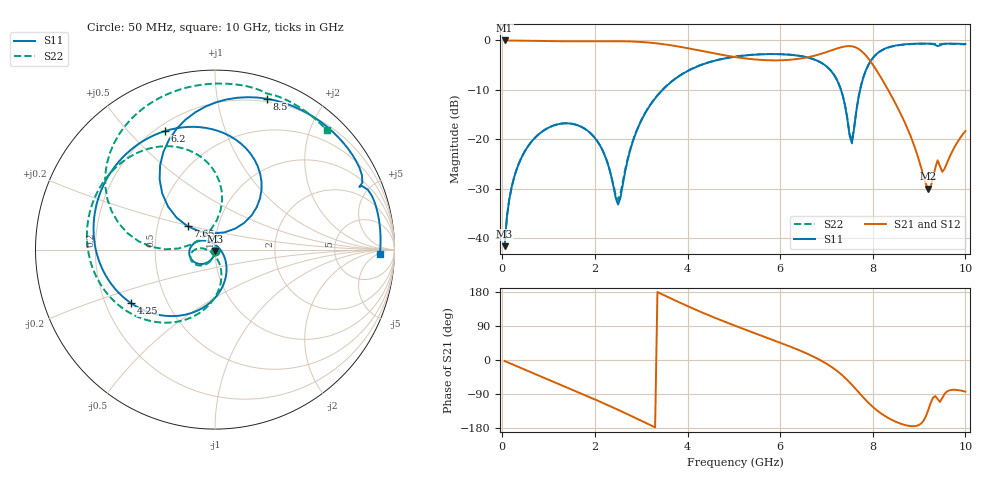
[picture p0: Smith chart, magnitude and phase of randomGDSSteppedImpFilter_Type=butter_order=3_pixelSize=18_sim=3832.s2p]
! freq	dB(S11)	phase(S11)	dB(S12)	phase(S12)
!  dB(S21)	phase(S21)	dB(S22)	phase(S22)
!S-par simulation data
#  GHz  S  DB  R 50
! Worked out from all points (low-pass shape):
!   200 points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, 50 MHz to 10 GHz, reference 50 ohm
!   highest |S21| = -0.01 dB at 50 MHz (marker M1); lowest = -29.9 dB at 9.2 GHz (marker M2)
!   |S21| within 3 dB of the highest: start of sweep to 4.796 GHz; 6.772 GHz to 7.848 GHz (1.076 GHz wide, 14.7 % of centre)
!   lowest |S11| = -41.6 dB at 50 MHz (marker M3), VSWR 1.02, Z = 50 - j0.834 ohm
!   |S11| at or under -10 dB: start of sweep to 3.46 GHz; 7.313 GHz to 7.726 GHz (413.2 MHz wide, 5.49 % of centre)
!   |S22| runs from -41.6 to -0.7 dB; largest |S21 - S12| = 0
!   S11 on the Smith chart (normalised r, x): 50 MHz: 1.00, -0.02; 4.25 GHz: 0.31, -0.27; 6.2 GHz: 0.23, +0.64; 7.65 GHz: 0.71, +0.19; 8.5 GHz: 0.17, +1.39; 10 GHz: 22, -6
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0.05  -41.56 -91.9  -0.01 -2.7  -0.01 -2.7  -41.56 -91.7
0.2  -29.71 -101.1  -0.02 -10.5  -0.02 -10.5  -29.71 -99.7
0.55  -21.47 -121.2  -0.07 -28.8  -0.07 -28.8  -21.46 -117.4
1.75  -17.67 169.8  -0.18 -90.8  -0.18 -90.8  -17.67 -172.7
2.2  -22.93 135.7  -0.16 -114.8  -0.16 -114.8  -22.91 174.4
2.5  -33.15 46.7  -0.16 -131.4  -0.16 -131.4  -32.24 -129.5
2.85  -19.57 -53.2  -0.24 -151.5  -0.24 -151.5  -19.42 -72.9
3.4  -10.59 -95.0  -0.66 176.4  -0.66 176.4  -10.53 -94.4
4.25  -5.12 -147.3  -2.03 128.8  -2.03 128.8  -5.08 -136.3
5.05  -3.26 170.0  -3.39 89.3  -3.39 89.3  -3.22 -171.7
6.2  -2.89 113.0  -3.92 36.3  -3.92 36.3  -2.87 141.2
6.7  -3.74 85.5  -3.18 10.0  -3.18 10.0  -3.72 118.2
7.25  -8.44 48.6  -1.56 -30.9  -1.56 -30.9  -8.42 86.3
7.55  -20.80 99.4  -1.19 -65.4  -1.19 -65.4  -20.32 138.0
7.65  -13.93 139.6  -1.49 -78.9  -1.49 -78.9  -13.86 178.3
7.95  -4.21 117.8  -4.21 -118.1  -4.21 -118.1  -4.24 159.7
8.35  -1.36 81.7  -10.31 -154.1  -10.31 -154.1  -1.40 126.3
8.5  -1.02 71.1  -12.92 -163.1  -12.92 -163.1  -1.07 116.6
9.2  -0.65 32.0  -29.94 -131.3  -29.94 -131.3  -0.65 80.9
9.4  -1.14 23.4  -24.21 -103.0  -24.21 -103.0  -0.75 72.2
9.5  -0.78 21.4  -26.54 -100.4  -26.54 -100.4  -0.70 68.4
10  -0.73 -1.4  -18.30 -83.4  -18.30 -83.4  -0.81 46.8
